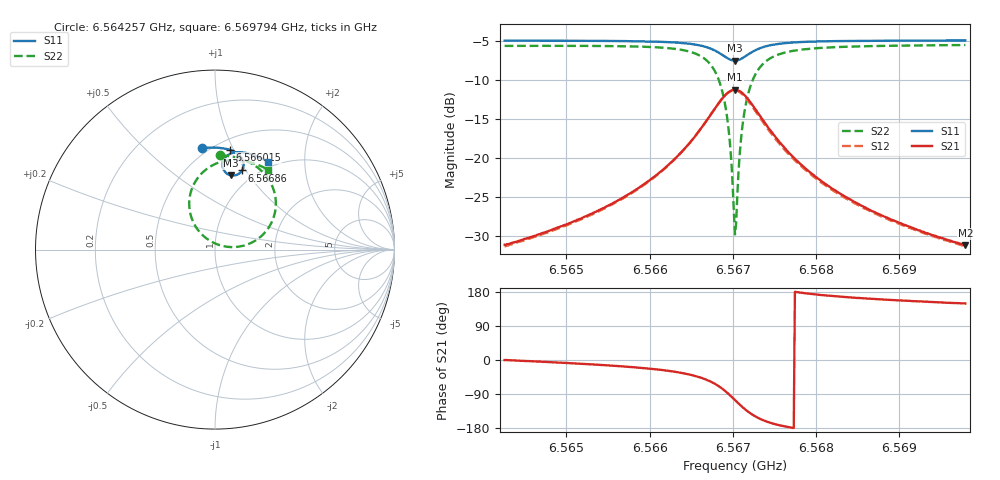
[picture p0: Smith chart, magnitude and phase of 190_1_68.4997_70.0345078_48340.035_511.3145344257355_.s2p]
#  HZ  S  RI  R  50.00
! Rohde & Schwarz Vector Network Analyzer
! Rohde-Schwarz,ZNB20-2Port,1311601062101988,3.16
! Created: UTC 3/20/2024, 4:57:04 PM
! freq[Hz]  re:S11  im:S11  re:S21  im:S21  re:S12  im:S12  re:S22  im:S22
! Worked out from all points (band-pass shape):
!   401 points, 6.564257 GHz to 6.569794 GHz, reference 50 ohm
!   highest |S21| = -11.21 dB at 6.567026 GHz (marker M1); lowest = -31.2 dB at 6.569794 GHz (marker M2)
!   |S21| within 3 dB of the highest: 6.566748 GHz to 6.567302 GHz (554.4 kHz wide, 0.00844 % of centre)
!   lowest |S11| = -7.5 dB at 6.567026 GHz (marker M3), VSWR 2.47, Z = 40.9 + j41.2 ohm
!   |S11| at or under -10 dB: nowhere
!   |S22| runs from -29.8 to -5.5 dB; largest |S21 - S12| = 0.013
!   S11 on the Smith chart (normalised r, x): 6.564257 GHz: 0.46, +0.77; 6.566015 GHz: 0.59, +0.97; 6.56686 GHz: 0.85, +0.96; 6.569794 GHz: 0.92, +1.33
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6.5642568e9  -0.0703 0.5648  0.0277 -0.000112  0.0271 -0.000498  0.0299 0.5261
6.5651844e9  0.00546 0.5681  0.0405 -0.00715  0.0398 -0.00772  0.1169 0.5136
6.566015e9  0.0822 0.5561  0.0672 -0.0289  0.0661 -0.0297  0.2226 0.4677
6.5661119e9  0.0923 0.5526  0.0723 -0.0346  0.0712 -0.0354  0.2388 0.4563
6.5664165e9  0.1271 0.5336  0.0931 -0.0666  0.0917 -0.0676  0.2975 0.3933
6.566638e9  0.1524 0.503  0.1067 -0.1199  0.1042 -0.1222  0.3369 0.2898
6.5667626e9  0.1592 0.4722  0.0993 -0.1737  0.0949 -0.177  0.329 0.1871
6.5668595e9  0.1505 0.4412  0.0669 -0.2268  0.0592 -0.2298  0.2712 0.0879
6.5669426e9  0.1255 0.4183  0.00709 -0.2638  -0.00383 -0.2637  0.1616 0.0225
6.5669703e9  0.1135 0.4141  -0.019 -0.2692  -0.0306 -0.2675  0.1144 0.0145
6.5670118e9  0.0941 0.4128  -0.061 -0.268  -0.0724 -0.2631  0.0401 0.0207
6.5670256e9  0.0874 0.4138  -0.0748 -0.2648  -0.086 -0.2589  0.016 0.028
6.5670395e9  0.0811 0.4157  -0.0881 -0.2603  -0.099 -0.2535  -0.00704 0.0376
6.5670533e9  0.075 0.4181  -0.101 -0.2544  -0.1113 -0.2467  -0.0289 0.0496
6.5670949e9  0.0592 0.4293  -0.1344 -0.2305  -0.1425 -0.2206  -0.0838 0.096
6.5671364e9  0.0484 0.4442  -0.1584 -0.2004  -0.1638 -0.1894  -0.1205 0.1519
6.5671918e9  0.0421 0.4655  -0.1748 -0.1582  -0.1768 -0.1474  -0.1421 0.2275
6.567261e9  0.0443 0.4892  -0.1773 -0.1119  -0.1766 -0.1026  -0.1379 0.3084
6.5675102e9  0.0826 0.5329  -0.1344 -0.0248  -0.1315 -0.021  -0.0402 0.4534
6.5679532e9  0.1431 0.5429  -0.0785 0.00819  -0.0766 0.00949  0.0886 0.499
6.5688807e9  0.2286 0.5215  -0.0379 0.0148  -0.0371 0.0151  0.2184 0.4804
6.5697944e9  0.2957 0.4886  -0.0235 0.0141  -0.0231 0.0142  0.2972 0.4431
